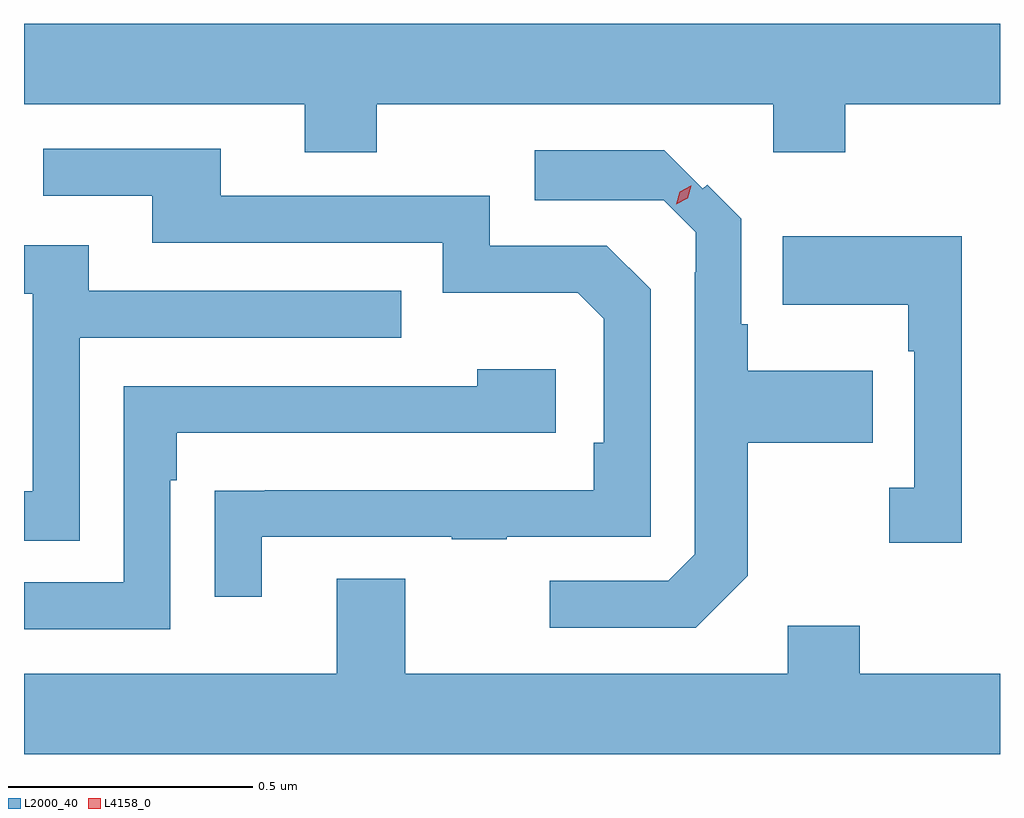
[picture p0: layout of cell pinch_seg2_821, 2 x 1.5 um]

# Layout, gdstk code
import gdstk
lib = gdstk.Library(unit=1e-6, precision=1e-09)
def P(c, l, *ps):  # polygons
    for p in ps: c.add(gdstk.Polygon(p, *l))
L2000_40 = (2000, 40)
L4158_0 = (4158, 0)

pinch_seg2_821 = lib.new_cell('pinch_seg2_821')
P(pinch_seg2_821, L2000_40, [(677.205,593.024),(678.017,593.024),(678.017,592.925),(678.165,592.925),(678.165,593.024),(678.482,593.024),(678.482,593.188),(676.482,593.188),(676.482,593.024),(677.057,593.024),(677.057,592.925),(677.205,592.925)],
  [(676.969,592.137),(677.359,592.137),(677.359,592.132),(677.471,592.132),(677.471,592.137),(677.766,592.137),(677.766,592.644),(677.676,592.734),(677.436,592.734),(677.436,592.836),(676.885,592.836),(676.885,592.932),(676.521,592.932),(676.521,592.836),(676.745,592.836),(676.745,592.74),(677.34,592.74),(677.34,592.637),(677.617,592.637),(677.67,592.584),(677.67,592.33),(677.65,592.33),(677.65,592.233),(676.975,592.233),(676.975,592.232),(676.873,592.232),(676.873,592.014),(676.969,592.014)],
  [(677.965,592.057),(677.965,592.33),(678.221,592.33),(678.221,592.477),(677.965,592.477),(677.965,592.573),(677.952,592.573),(677.952,592.789),(677.882,592.859),(677.873,592.85),(677.794,592.929),(677.529,592.929),(677.529,592.827),(677.793,592.827),(677.859,592.761),(677.859,592.679),(677.856,592.679),(677.856,592.101),(677.802,592.047),(677.559,592.047),(677.559,591.951),(677.859,591.951)],
  [(678.404,592.753),(678.037,592.753),(678.037,592.613),(678.294,592.613),(678.294,592.517),(678.306,592.517),(678.306,592.238),(678.255,592.238),(678.255,592.125),(678.404,592.125)],
  [(676.596,592.545),(677.255,592.545),(677.255,592.641),(676.615,592.641),(676.615,592.735),(676.482,592.735),(676.482,592.635),(676.5,592.635),(676.5,592.23),(676.482,592.23),(676.482,592.129),(676.596,592.129)],
  [(676.782,592.253),(676.795,592.253),(676.795,592.35),(677.572,592.35),(677.572,592.48),(677.411,592.48),(677.411,592.446),(676.686,592.446),(676.686,592.044),(676.482,592.044),(676.482,591.948),(676.782,591.948)],
  [(678.482,591.856),(678.195,591.856),(678.195,591.955),(678.047,591.955),(678.047,591.856),(677.263,591.856),(677.263,592.051),(677.123,592.051),(677.123,591.856),(676.482,591.856),(676.482,591.692),(678.482,591.692)])
P(pinch_seg2_821, L4158_0, [(677.819,592.819),(677.819,592.819),(677.826,592.844),(677.848,592.856),(677.849,592.856),(677.849,592.856),(677.842,592.831),(677.819,592.819)])

lib.write_gds('pinch_seg2_821.gds')
